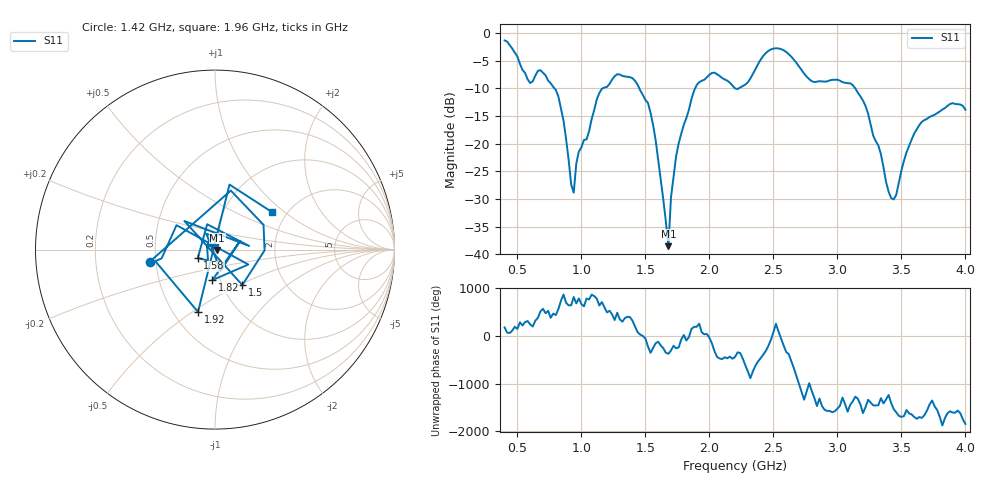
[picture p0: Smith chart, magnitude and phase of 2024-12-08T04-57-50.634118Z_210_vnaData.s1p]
!Created with skrf (http://scikit-rf.org).
# Hz S RI R 50.0
!freq ReS11 ImS11
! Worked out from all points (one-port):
!   181 points, 400 MHz to 4 GHz, reference 50 ohm
!   lowest |S11| = -38.5 dB at 1.68 GHz (marker M1), VSWR 1.02, Z = 51.2 - j0.28 ohm
!   |S11| at or under -10 dB: 790.6 MHz to 1.165 GHz (374.4 MHz wide, 38.3 % of centre); 1.453 GHz to 1.888 GHz (435.6 MHz wide, 26.1 % of centre); 3.14 GHz to end of sweep (the widest 3 of 4)
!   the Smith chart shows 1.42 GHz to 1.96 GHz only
!   S11 on the Smith chart (normalised r, x): 1.42 GHz: 0.46, -0.07; 1.5 GHz: 1.24, -0.52; 1.58 GHz: 0.82, -0.08; 1.82 GHz: 0.92, -0.32; 1.92 GHz: 0.66, -0.53; 1.96 GHz: 1.67, +0.82
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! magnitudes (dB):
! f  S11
! 400 MHz  -1.3
! 600 MHz  -9.0
! 720 MHz  -7.6
! 860 MHz  -15.8
! 940 MHz  -28.8
! 980 MHz  -21.4
! 1.12 GHz  -12.0
! 1.3 GHz  -7.5
! 1.42 GHz  -8.7
! 1.5 GHz  -12.1
! 1.58 GHz  -19.3
! 1.68 GHz  -38.5
! 1.7 GHz  -29.7
! 1.76 GHz  -19.9
! 1.82 GHz  -15.4
! 1.92 GHz  -8.9
! 1.96 GHz  -8.4
! 2.2 GHz  -10.0
! 2.48 GHz  -2.9
! 2.66 GHz  -4.8
! 2.8 GHz  -8.7
! 3.1 GHz  -9.1
! 3.22 GHz  -13.2
! 3.42 GHz  -29.8
! 3.46 GHz  -29.2
! 3.56 GHz  -20.4
! 3.68 GHz  -15.7
! 4 GHz  -13.8
